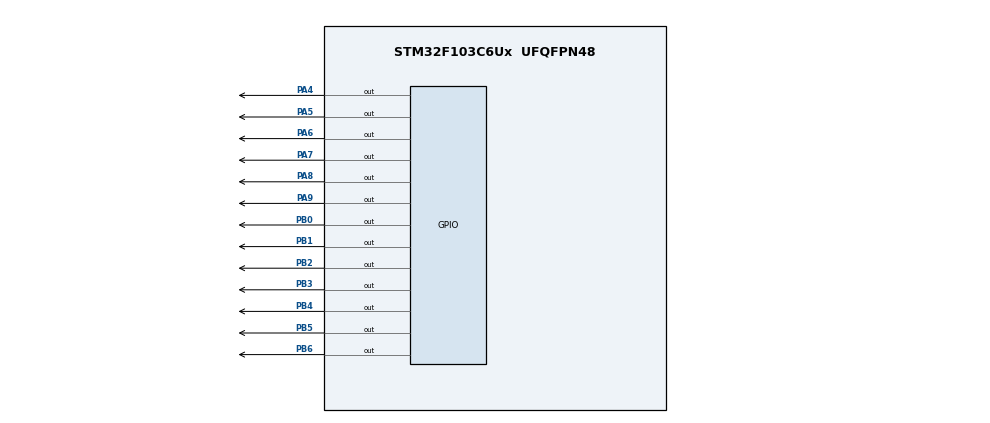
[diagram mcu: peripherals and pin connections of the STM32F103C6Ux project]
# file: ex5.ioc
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Mcu.Family=STM32F1
Mcu.Name=STM32F103C6Ux
Mcu.Package=UFQFPN48
NVIC.PriorityGroup=NVIC_PRIORITYGROUP_4
NVIC.TIM2_IRQn=true\:0\:0\:false\:false\:true\:true\:true
PA4.Signal=GPIO_Output
PA5.Signal=GPIO_Output
PA6.Signal=GPIO_Output
PA7.Signal=GPIO_Output
PA8.Signal=GPIO_Output
PA9.Signal=GPIO_Output
PB0.Signal=GPIO_Output
PB1.Signal=GPIO_Output
PB2.Signal=GPIO_Output
PB3.Signal=GPIO_Output
PB4.Signal=GPIO_Output
PB5.Signal=GPIO_Output
PB6.Signal=GPIO_Output
ProjectManager.HeapSize=0x200
ProjectManager.StackSize=0x400
ProjectManager.TargetToolchain=STM32CubeIDE
RCC.APB1Freq_Value=8000000
RCC.APB2Freq_Value=8000000
TIM2.CounterMode=TIM_COUNTERMODE_UP
TIM2.Period=9
TIM2.Prescaler=7999
VP_SYS_VS_ND.Mode=No_Debug
VP_TIM2_VS_ClockSourceINT.Mode=Internal
board=custom

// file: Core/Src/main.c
/* USER CODE BEGIN Header */
/**
  ******************************************************************************
  * @file           : main.c
  * @brief          : Main program body
  ******************************************************************************
  * @attention
  *
  * <h2><center>&copy; Copyright (c) 2026 STMicroelectronics.
  * All rights reserved.</center></h2>
  *
  * This software component is licensed by ST under BSD 3-Clause license,
  * the "License"; You may not use this file except in compliance with the
  * License. You may obtain a copy of the License at:
  *                        opensource.org/licenses/BSD-3-Clause
  *
  ******************************************************************************
  */
/* USER CODE END Header */
#include "main.h"

TIM_HandleTypeDef htim2;

void SystemClock_Config(void);
static void MX_GPIO_Init(void);
static void MX_TIM2_Init(void);

/* USER CODE BEGIN 0 */
const uint8_t led7seg[10] = {0x40, 0x79, 0x24, 0x30, 0x19, 0x12, 0x02, 0x78, 0x00, 0x10};

void display7SEG(int num) {
    if (num < 0 || num > 9) return;
    uint8_t display_code = led7seg[num];

    HAL_GPIO_WritePin(GPIOB, GPIO_PIN_0, (display_code >> 0) & 0x01);
    HAL_GPIO_WritePin(GPIOB, GPIO_PIN_1, (display_code >> 1) & 0x01);
    HAL_GPIO_WritePin(GPIOB, GPIO_PIN_2, (display_code >> 2) & 0x01);
    HAL_GPIO_WritePin(GPIOB, GPIO_PIN_3, (display_code >> 3) & 0x01);
    HAL_GPIO_WritePin(GPIOB, GPIO_PIN_4, (display_code >> 4) & 0x01);
    HAL_GPIO_WritePin(GPIOB, GPIO_PIN_5, (display_code >> 5) & 0x01);
    HAL_GPIO_WritePin(GPIOB, GPIO_PIN_6, (display_code >> 6) & 0x01);
}

int index_led = 0;
int led_buffer[4] = {1, 2, 3, 0};
int hour = 15;
int minute = 8;
int second = 50;

void updateClockBuffer() {
    led_buffer[0] = hour / 10;
    led_buffer[1] = hour % 10;
    led_buffer[2] = minute / 10;
    led_buffer[3] = minute % 10;
}

//void update7SEG(int index) {
//    HAL_GPIO_WritePin(GPIOA, GPIO_PIN_6 | GPIO_PIN_7 | GPIO_PIN_8 | GPIO_PIN_9, GPIO_PIN_SET);
//
//    // Đẩy dữ liệu ra các chân đoạn (PB0-PB6)
//    display7SEG(led_buffer[index]);
//
//    // Bật con LED tương ứng (Chân PA6->PA9)
//    switch(index) {
//        case 0: HAL_GPIO_WritePin(GPIOA, GPIO_PIN_6, GPIO_PIN_RESET); break;
//        case 1: HAL_GPIO_WritePin(GPIOA, GPIO_PIN_7, GPIO_PIN_RESET); break;
//        case 2: HAL_GPIO_WritePin(GPIOA, GPIO_PIN_8, GPIO_PIN_RESET); break;
//        case 3: HAL_GPIO_WritePin(GPIOA, GPIO_PIN_9, GPIO_PIN_RESET); break;
//    }
//}

void update7SEG(int index) {
    HAL_GPIO_WritePin(GPIOA, GPIO_PIN_4 | GPIO_PIN_6 | GPIO_PIN_7 | GPIO_PIN_8 | GPIO_PIN_9, GPIO_PIN_SET);
    display7SEG(led_buffer[index]);
    switch(index) {
        case 0:
            HAL_GPIO_WritePin(GPIOA, GPIO_PIN_6, GPIO_PIN_RESET);
            HAL_GPIO_WritePin(GPIOA, GPIO_PIN_4, GPIO_PIN_RESET);
            break;
        case 1:
            HAL_GPIO_WritePin(GPIOA, GPIO_PIN_7, GPIO_PIN_RESET);
            break;
        case 2:
            HAL_GPIO_WritePin(GPIOA, GPIO_PIN_8, GPIO_PIN_RESET);
            break;
        case 3:
            HAL_GPIO_WritePin(GPIOA, GPIO_PIN_9, GPIO_PIN_RESET);
            break;
    }
}
/* USER CODE END 0 */

int main(void)
{

  /* MCU Configuration--------------------------------------------------------*/

  /* Reset of all peripherals, Initializes the Flash interface and the Systick. */
  HAL_Init();

  /* Configure the system clock */
  SystemClock_Config();

  /* Initialize all configured peripherals */
  MX_GPIO_Init();
  MX_TIM2_Init();
  /* USER CODE BEGIN 2 */
  HAL_TIM_Base_Start_IT(&htim2);
  updateClockBuffer();
  /* USER CODE END 2 */

  /* Infinite loop */
  /* USER CODE BEGIN WHILE */
  while (1)
  {
      second++;
      if (second >= 60) {
          second = 0;
          minute++;
      }
      if (minute >= 60) {
          minute = 0;
          hour++;
      }
      if (hour >= 24) {
          hour = 0;
      }

      updateClockBuffer();
//      HAL_GPIO_TogglePin(GPIOA, GPIO_PIN_4); // Chớp Dấu : mỗi 1 giây
      HAL_Delay(1000);
    /* USER CODE END WHILE */
      /* USER CODE END 3 */
  }
}

void SystemClock_Config(void)
{
  RCC_OscInitTypeDef RCC_OscInitStruct = {0};
  RCC_ClkInitTypeDef RCC_ClkInitStruct = {0};

  /** Initializes the RCC Oscillators according to the specified parameters
  * in the RCC_OscInitTypeDef structure.
  */
  RCC_OscInitStruct.OscillatorType = RCC_OSCILLATORTYPE_HSI;
  RCC_OscInitStruct.HSIState = RCC_HSI_ON;
  RCC_OscInitStruct.HSICalibrationValue = RCC_HSICALIBRATION_DEFAULT;
  RCC_OscInitStruct.PLL.PLLState = RCC_PLL_NONE;
  if (HAL_RCC_OscConfig(&RCC_OscInitStruct) != HAL_OK)
  {
    Error_Handler();
  }
  /** Initializes the CPU, AHB and APB buses clocks
  */
  RCC_ClkInitStruct.ClockType = RCC_CLOCKTYPE_HCLK|RCC_CLOCKTYPE_SYSCLK
                              |RCC_CLOCKTYPE_PCLK1|RCC_CLOCKTYPE_PCLK2;
  RCC_ClkInitStruct.SYSCLKSource = RCC_SYSCLKSOURCE_HSI;
  RCC_ClkInitStruct.AHBCLKDivider = RCC_SYSCLK_DIV1;
  RCC_ClkInitStruct.APB1CLKDivider = RCC_HCLK_DIV1;
  RCC_ClkInitStruct.APB2CLKDivider = RCC_HCLK_DIV1;

  if (HAL_RCC_ClockConfig(&RCC_ClkInitStruct, FLASH_LATENCY_0) != HAL_OK)
  {
    Error_Handler();
  }
}

static void MX_TIM2_Init(void)
{

  TIM_ClockConfigTypeDef sClockSourceConfig = {0};
  TIM_MasterConfigTypeDef sMasterConfig = {0};

  htim2.Instance = TIM2;
  htim2.Init.Prescaler = 7999;
  htim2.Init.CounterMode = TIM_COUNTERMODE_UP;
  htim2.Init.Period = 9;
  htim2.Init.ClockDivision = TIM_CLOCKDIVISION_DIV1;
  htim2.Init.AutoReloadPreload = TIM_AUTORELOAD_PRELOAD_DISABLE;
  if (HAL_TIM_Base_Init(&htim2) != HAL_OK)
  {
    Error_Handler();
  }
  sClockSourceConfig.ClockSource = TIM_CLOCKSOURCE_INTERNAL;
  if (HAL_TIM_ConfigClockSource(&htim2, &sClockSourceConfig) != HAL_OK)
  {
    Error_Handler();
  }
  sMasterConfig.MasterOutputTrigger = TIM_TRGO_RESET;
  sMasterConfig.MasterSlaveMode = TIM_MASTERSLAVEMODE_DISABLE;
  if (HAL_TIMEx_MasterConfigSynchronization(&htim2, &sMasterConfig) != HAL_OK)
  {
    Error_Handler();
  }

}

static void MX_GPIO_Init(void)
{
  GPIO_InitTypeDef GPIO_InitStruct = {0};

  /* GPIO Ports Clock Enable */
  __HAL_RCC_GPIOA_CLK_ENABLE();
  __HAL_RCC_GPIOB_CLK_ENABLE();

  /*Configure GPIO pin Output Level */
  HAL_GPIO_WritePin(GPIOA, GPIO_PIN_4|GPIO_PIN_5|GPIO_PIN_6|GPIO_PIN_7
                          |GPIO_PIN_8|GPIO_PIN_9, GPIO_PIN_RESET);

  /*Configure GPIO pin Output Level */
  HAL_GPIO_WritePin(GPIOB, GPIO_PIN_0|GPIO_PIN_1|GPIO_PIN_2|GPIO_PIN_3
                          |GPIO_PIN_4|GPIO_PIN_5|GPIO_PIN_6, GPIO_PIN_RESET);

  /*Configure GPIO pins : PA4 PA5 PA6 PA7
                           PA8 PA9 */
  GPIO_InitStruct.Pin = GPIO_PIN_4|GPIO_PIN_5|GPIO_PIN_6|GPIO_PIN_7
                          |GPIO_PIN_8|GPIO_PIN_9;
  GPIO_InitStruct.Mode = GPIO_MODE_OUTPUT_PP;
  GPIO_InitStruct.Pull = GPIO_NOPULL;
  GPIO_InitStruct.Speed = GPIO_SPEED_FREQ_LOW;
  HAL_GPIO_Init(GPIOA, &GPIO_InitStruct);

  /*Configure GPIO pins : PB0 PB1 PB2 PB3
                           PB4 PB5 PB6 */
  GPIO_InitStruct.Pin = GPIO_PIN_0|GPIO_PIN_1|GPIO_PIN_2|GPIO_PIN_3
                          |GPIO_PIN_4|GPIO_PIN_5|GPIO_PIN_6;
  GPIO_InitStruct.Mode = GPIO_MODE_OUTPUT_PP;
  GPIO_InitStruct.Pull = GPIO_NOPULL;
  GPIO_InitStruct.Speed = GPIO_SPEED_FREQ_LOW;
  HAL_GPIO_Init(GPIOB, &GPIO_InitStruct);

}

/* USER CODE BEGIN 4 */
int counter_7seg = 100;

void HAL_TIM_PeriodElapsedCallback(TIM_HandleTypeDef *htim)
{
    if (htim->Instance == TIM2) {
        if (counter_7seg == 100) {
            update7SEG(0);
        }
        else if (counter_7seg == 75) {
            update7SEG(1);
        }
        else if (counter_7seg == 50) {
            update7SEG(2);
        }
        else if (counter_7seg == 25) {
            update7SEG(3);
        }

        counter_7seg--;
        if (counter_7seg <= 0) {
            counter_7seg = 100;
        }
    }
}
/* USER CODE END 4 */

void Error_Handler(void)
{
  __disable_irq();
  while (1)
  {
  }
}

/************************ (C) COPYRIGHT STMicroelectronics *****END OF FILE****/
